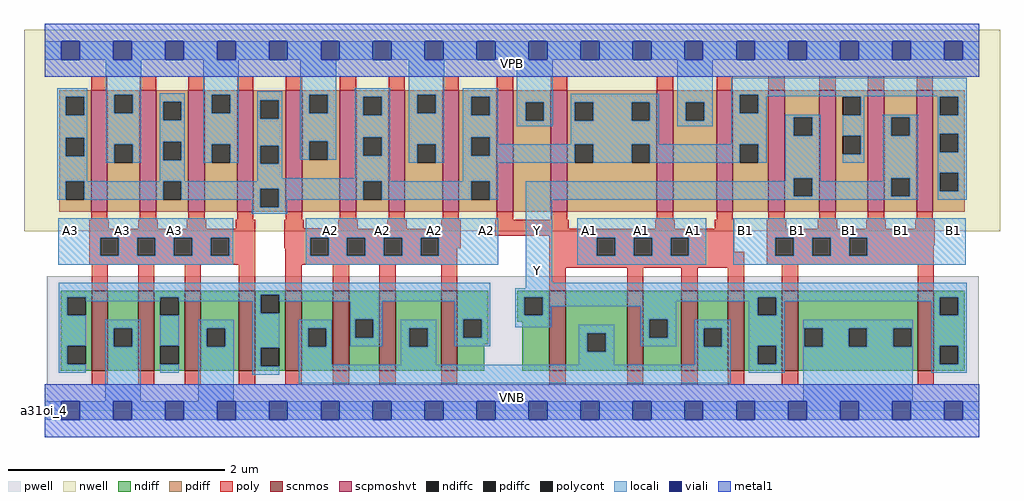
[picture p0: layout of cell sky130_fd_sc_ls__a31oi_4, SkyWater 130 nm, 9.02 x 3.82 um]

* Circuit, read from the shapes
.subckt sky130_fd_sc_ls__a31oi_4 A1 A2 A3 B1 VGND VNB VPB VPWR Y
XM1 VGND A3 n1 VNB sky130_fd_pr__nfet_01v8 w=0.74 l=0.15 m=4
XM2 n2 A2 n1 VNB sky130_fd_pr__nfet_01v8 w=0.74 l=0.15 m=4
XM3 n2 A1 Y VNB sky130_fd_pr__nfet_01v8 w=0.74 l=0.15 m=4
XM4 VGND B1 Y VNB sky130_fd_pr__nfet_01v8 w=0.74 l=0.15 m=2
XM5 VPWR A3 n3 VPB sky130_fd_pr__pfet_01v8_hvt w=1.12 l=0.15 m=4
XM6 VPWR A2 n3 VPB sky130_fd_pr__pfet_01v8_hvt w=1.12 l=0.15 m=4
XM7 VPWR A1 n3 VPB sky130_fd_pr__pfet_01v8_hvt w=1.12 l=0.15 m=4
XM8 Y B1 n3 VPB sky130_fd_pr__pfet_01v8_hvt w=1.12 l=0.15 m=4
.ends

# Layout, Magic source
magic
tech sky130A
magscale 1 2
<< nwell >>
rect -38 332 1766 704
<< pwell >>
rect 4 49 1727 248
rect 0 0 1728 49
<< scnmos >>
rect 87 74 117 222
rect 173 74 203 222
rect 259 74 289 222
rect 359 74 389 222
rect 445 74 475 222
rect 533 74 563 222
rect 619 74 649 222
rect 733 74 763 222
rect 933 74 963 222
rect 1077 74 1107 222
rect 1177 74 1207 222
rect 1263 74 1293 222
rect 1363 74 1393 222
rect 1614 74 1644 222
<< scpmoshvt >>
rect 86 368 116 592
rect 176 368 206 592
rect 266 368 296 592
rect 356 368 386 592
rect 446 368 476 592
rect 546 368 576 592
rect 636 368 666 592
rect 736 368 766 592
rect 836 368 866 592
rect 936 368 966 592
rect 1132 368 1162 592
rect 1242 368 1272 592
rect 1338 368 1368 592
rect 1432 368 1462 592
rect 1522 368 1552 592
rect 1612 368 1642 592
<< ndiff >>
rect 30 210 87 222
rect 30 176 42 210
rect 76 176 87 210
rect 30 120 87 176
rect 30 86 42 120
rect 76 86 87 120
rect 30 74 87 86
rect 117 152 173 222
rect 117 118 128 152
rect 162 118 173 152
rect 117 74 173 118
rect 203 210 259 222
rect 203 176 214 210
rect 248 176 259 210
rect 203 120 259 176
rect 203 86 214 120
rect 248 86 259 120
rect 203 74 259 86
rect 289 152 359 222
rect 289 118 300 152
rect 334 118 359 152
rect 289 74 359 118
rect 389 214 445 222
rect 389 180 400 214
rect 434 180 445 214
rect 389 116 445 180
rect 389 82 400 116
rect 434 82 445 116
rect 389 74 445 82
rect 475 152 533 222
rect 475 118 487 152
rect 521 118 533 152
rect 475 74 533 118
rect 563 169 619 222
rect 563 135 574 169
rect 608 135 619 169
rect 563 74 619 135
rect 649 152 733 222
rect 649 118 674 152
rect 708 118 733 152
rect 649 74 733 118
rect 763 169 820 222
rect 763 135 774 169
rect 808 135 820 169
rect 874 210 933 222
rect 874 176 887 210
rect 921 176 933 210
rect 874 164 933 176
rect 763 123 820 135
rect 763 74 813 123
rect 883 74 933 164
rect 963 143 1077 222
rect 963 109 1003 143
rect 1037 109 1077 143
rect 963 74 1077 109
rect 1107 169 1177 222
rect 1107 135 1118 169
rect 1152 135 1177 169
rect 1107 74 1177 135
rect 1207 152 1263 222
rect 1207 118 1218 152
rect 1252 118 1263 152
rect 1207 74 1263 118
rect 1293 210 1363 222
rect 1293 176 1318 210
rect 1352 176 1363 210
rect 1293 120 1363 176
rect 1293 86 1318 120
rect 1352 86 1363 120
rect 1293 74 1363 86
rect 1393 152 1614 222
rect 1393 118 1404 152
rect 1438 118 1486 152
rect 1520 118 1569 152
rect 1603 118 1614 152
rect 1393 74 1614 118
rect 1644 210 1701 222
rect 1644 176 1655 210
rect 1689 176 1701 210
rect 1644 120 1701 176
rect 1644 86 1655 120
rect 1689 86 1701 120
rect 1644 74 1701 86
<< pdiff >>
rect 27 580 86 592
rect 27 546 39 580
rect 73 546 86 580
rect 27 504 86 546
rect 27 470 39 504
rect 73 470 86 504
rect 27 424 86 470
rect 27 390 39 424
rect 73 390 86 424
rect 27 368 86 390
rect 116 584 176 592
rect 116 550 129 584
rect 163 550 176 584
rect 116 492 176 550
rect 116 458 129 492
rect 163 458 176 492
rect 116 368 176 458
rect 206 571 266 592
rect 206 537 219 571
rect 253 537 266 571
rect 206 497 266 537
rect 206 463 219 497
rect 253 463 266 497
rect 206 424 266 463
rect 206 390 219 424
rect 253 390 266 424
rect 206 368 266 390
rect 296 584 356 592
rect 296 550 309 584
rect 343 550 356 584
rect 296 492 356 550
rect 296 458 309 492
rect 343 458 356 492
rect 296 368 356 458
rect 386 574 446 592
rect 386 540 399 574
rect 433 540 446 574
rect 386 490 446 540
rect 386 456 399 490
rect 433 456 446 490
rect 386 410 446 456
rect 386 376 399 410
rect 433 376 446 410
rect 386 368 446 376
rect 476 584 546 592
rect 476 550 489 584
rect 523 550 546 584
rect 476 498 546 550
rect 476 464 489 498
rect 523 464 546 498
rect 476 368 546 464
rect 576 580 636 592
rect 576 546 589 580
rect 623 546 636 580
rect 576 505 636 546
rect 576 471 589 505
rect 623 471 636 505
rect 576 424 636 471
rect 576 390 589 424
rect 623 390 636 424
rect 576 368 636 390
rect 666 584 736 592
rect 666 550 689 584
rect 723 550 736 584
rect 666 492 736 550
rect 666 458 689 492
rect 723 458 736 492
rect 666 368 736 458
rect 766 580 836 592
rect 766 546 789 580
rect 823 546 836 580
rect 766 505 836 546
rect 766 471 789 505
rect 823 471 836 505
rect 766 424 836 471
rect 766 390 789 424
rect 823 390 836 424
rect 766 368 836 390
rect 866 570 936 592
rect 866 536 889 570
rect 923 536 936 570
rect 866 368 936 536
rect 966 570 1132 592
rect 966 536 980 570
rect 1014 536 1085 570
rect 1119 536 1132 570
rect 966 492 1132 536
rect 966 458 980 492
rect 1014 458 1085 492
rect 1119 458 1132 492
rect 966 368 1132 458
rect 1162 570 1242 592
rect 1162 536 1185 570
rect 1219 536 1242 570
rect 1162 368 1242 536
rect 1272 584 1338 592
rect 1272 550 1285 584
rect 1319 550 1338 584
rect 1272 492 1338 550
rect 1272 458 1285 492
rect 1319 458 1338 492
rect 1272 368 1338 458
rect 1368 542 1432 592
rect 1368 508 1385 542
rect 1419 508 1432 542
rect 1368 430 1432 508
rect 1368 396 1385 430
rect 1419 396 1432 430
rect 1368 368 1432 396
rect 1462 580 1522 592
rect 1462 546 1475 580
rect 1509 546 1522 580
rect 1462 508 1522 546
rect 1462 474 1475 508
rect 1509 474 1522 508
rect 1462 368 1522 474
rect 1552 542 1612 592
rect 1552 508 1565 542
rect 1599 508 1612 542
rect 1552 430 1612 508
rect 1552 396 1565 430
rect 1599 396 1612 430
rect 1552 368 1612 396
rect 1642 580 1701 592
rect 1642 546 1655 580
rect 1689 546 1701 580
rect 1642 512 1701 546
rect 1642 478 1655 512
rect 1689 478 1701 512
rect 1642 440 1701 478
rect 1642 406 1655 440
rect 1689 406 1701 440
rect 1642 368 1701 406
<< ndiffc >>
rect 42 176 76 210
rect 42 86 76 120
rect 128 118 162 152
rect 214 176 248 210
rect 214 86 248 120
rect 300 118 334 152
rect 400 180 434 214
rect 400 82 434 116
rect 487 118 521 152
rect 574 135 608 169
rect 674 118 708 152
rect 774 135 808 169
rect 887 176 921 210
rect 1003 109 1037 143
rect 1118 135 1152 169
rect 1218 118 1252 152
rect 1318 176 1352 210
rect 1318 86 1352 120
rect 1404 118 1438 152
rect 1486 118 1520 152
rect 1569 118 1603 152
rect 1655 176 1689 210
rect 1655 86 1689 120
<< pdiffc >>
rect 39 546 73 580
rect 39 470 73 504
rect 39 390 73 424
rect 129 550 163 584
rect 129 458 163 492
rect 219 537 253 571
rect 219 463 253 497
rect 219 390 253 424
rect 309 550 343 584
rect 309 458 343 492
rect 399 540 433 574
rect 399 456 433 490
rect 399 376 433 410
rect 489 550 523 584
rect 489 464 523 498
rect 589 546 623 580
rect 589 471 623 505
rect 589 390 623 424
rect 689 550 723 584
rect 689 458 723 492
rect 789 546 823 580
rect 789 471 823 505
rect 789 390 823 424
rect 889 536 923 570
rect 980 536 1014 570
rect 1085 536 1119 570
rect 980 458 1014 492
rect 1085 458 1119 492
rect 1185 536 1219 570
rect 1285 550 1319 584
rect 1285 458 1319 492
rect 1385 508 1419 542
rect 1385 396 1419 430
rect 1475 546 1509 580
rect 1475 474 1509 508
rect 1565 508 1599 542
rect 1565 396 1599 430
rect 1655 546 1689 580
rect 1655 478 1689 512
rect 1655 406 1689 440
<< poly >>
rect 86 592 116 618
rect 176 592 206 618
rect 266 592 296 618
rect 356 592 386 618
rect 446 592 476 618
rect 546 592 576 618
rect 636 592 666 618
rect 736 592 766 618
rect 836 592 866 618
rect 936 592 966 618
rect 1132 592 1162 618
rect 1242 592 1272 618
rect 1338 592 1368 618
rect 1432 592 1462 618
rect 1522 592 1552 618
rect 1612 592 1642 618
rect 86 353 116 368
rect 176 353 206 368
rect 266 353 296 368
rect 356 353 386 368
rect 446 353 476 368
rect 546 353 576 368
rect 636 353 666 368
rect 736 353 766 368
rect 836 353 866 368
rect 936 353 966 368
rect 1132 353 1162 368
rect 1242 353 1272 368
rect 1338 353 1368 368
rect 1432 353 1462 368
rect 1522 353 1552 368
rect 1612 353 1642 368
rect 83 336 119 353
rect 173 336 209 353
rect 263 336 299 353
rect 353 336 389 353
rect 83 320 389 336
rect 83 286 103 320
rect 137 286 171 320
rect 205 286 239 320
rect 273 286 307 320
rect 341 286 389 320
rect 443 337 479 353
rect 543 337 579 353
rect 443 336 579 337
rect 633 336 669 353
rect 733 336 769 353
rect 443 320 769 336
rect 833 336 969 353
rect 1129 336 1165 353
rect 1239 336 1275 353
rect 833 323 1275 336
rect 443 300 491 320
rect 83 270 389 286
rect 87 222 117 270
rect 173 222 203 270
rect 259 222 289 270
rect 359 222 389 270
rect 445 286 491 300
rect 525 286 559 320
rect 593 286 627 320
rect 661 286 695 320
rect 729 300 769 320
rect 933 320 1275 323
rect 729 286 763 300
rect 445 270 763 286
rect 445 222 475 270
rect 533 222 563 270
rect 619 222 649 270
rect 733 222 763 270
rect 933 286 1021 320
rect 1055 286 1089 320
rect 1123 286 1157 320
rect 1191 294 1275 320
rect 1335 336 1371 353
rect 1429 336 1465 353
rect 1519 336 1555 353
rect 1609 336 1645 353
rect 1335 320 1645 336
rect 1191 286 1293 294
rect 933 264 1293 286
rect 1335 286 1351 320
rect 1385 286 1419 320
rect 1453 286 1487 320
rect 1521 306 1645 320
rect 1521 286 1644 306
rect 1335 270 1644 286
rect 933 222 963 264
rect 1077 222 1107 264
rect 1177 222 1207 264
rect 1263 222 1293 264
rect 1363 222 1393 270
rect 1614 222 1644 270
rect 87 48 117 74
rect 173 48 203 74
rect 259 48 289 74
rect 359 48 389 74
rect 445 48 475 74
rect 533 48 563 74
rect 619 48 649 74
rect 733 48 763 74
rect 933 48 963 74
rect 1077 48 1107 74
rect 1177 48 1207 74
rect 1263 48 1293 74
rect 1363 48 1393 74
rect 1614 48 1644 74
<< polycont >>
rect 103 286 137 320
rect 171 286 205 320
rect 239 286 273 320
rect 307 286 341 320
rect 491 286 525 320
rect 559 286 593 320
rect 627 286 661 320
rect 695 286 729 320
rect 1021 286 1055 320
rect 1089 286 1123 320
rect 1157 286 1191 320
rect 1351 286 1385 320
rect 1419 286 1453 320
rect 1487 286 1521 320
<< locali >>
rect 0 649 31 683
rect 65 649 127 683
rect 161 649 223 683
rect 257 649 319 683
rect 353 649 415 683
rect 449 649 511 683
rect 545 649 607 683
rect 641 649 703 683
rect 737 649 799 683
rect 833 649 895 683
rect 929 649 991 683
rect 1025 649 1087 683
rect 1121 649 1183 683
rect 1217 649 1279 683
rect 1313 649 1375 683
rect 1409 649 1471 683
rect 1505 649 1567 683
rect 1601 649 1663 683
rect 1697 649 1728 683
rect 23 580 79 596
rect 23 546 39 580
rect 73 546 79 580
rect 23 504 79 546
rect 23 470 39 504
rect 73 470 79 504
rect 23 424 79 470
rect 113 584 179 649
rect 113 550 129 584
rect 163 550 179 584
rect 113 492 179 550
rect 113 458 129 492
rect 163 458 179 492
rect 213 571 259 587
rect 213 537 219 571
rect 253 537 259 571
rect 213 497 259 537
rect 213 463 219 497
rect 253 463 259 497
rect 213 424 259 463
rect 293 584 359 649
rect 293 550 309 584
rect 343 550 359 584
rect 293 492 359 550
rect 293 458 309 492
rect 343 458 359 492
rect 393 574 439 590
rect 393 540 399 574
rect 433 540 439 574
rect 393 490 439 540
rect 393 456 399 490
rect 433 456 439 490
rect 473 584 539 649
rect 473 550 489 584
rect 523 550 539 584
rect 473 498 539 550
rect 473 464 489 498
rect 523 464 539 498
rect 573 580 639 596
rect 573 546 589 580
rect 623 546 639 580
rect 573 505 639 546
rect 573 471 589 505
rect 623 471 639 505
rect 393 430 439 456
rect 573 430 639 471
rect 673 584 739 649
rect 673 550 689 584
rect 723 550 739 584
rect 673 492 739 550
rect 673 458 689 492
rect 723 458 739 492
rect 773 580 839 596
rect 773 546 789 580
rect 823 546 839 580
rect 773 505 839 546
rect 873 570 939 649
rect 873 536 889 570
rect 923 536 939 570
rect 873 526 939 536
rect 973 570 1135 586
rect 973 536 980 570
rect 1014 536 1085 570
rect 1119 536 1135 570
rect 773 471 789 505
rect 823 492 839 505
rect 973 492 1135 536
rect 1169 570 1235 649
rect 1169 536 1185 570
rect 1219 536 1235 570
rect 1169 526 1235 536
rect 1269 584 1705 615
rect 1269 550 1285 584
rect 1319 581 1705 584
rect 1319 550 1335 581
rect 1269 492 1335 550
rect 1475 580 1515 581
rect 823 471 980 492
rect 773 458 980 471
rect 1014 458 1085 492
rect 1119 458 1285 492
rect 1319 458 1335 492
rect 1369 542 1435 547
rect 1369 508 1385 542
rect 1419 508 1435 542
rect 393 424 639 430
rect 773 424 839 458
rect 1369 430 1435 508
rect 1509 546 1515 580
rect 1651 580 1705 581
rect 1475 508 1515 546
rect 1509 474 1515 508
rect 1475 458 1515 474
rect 1549 542 1615 547
rect 1549 508 1565 542
rect 1599 508 1615 542
rect 1369 424 1385 430
rect 23 390 39 424
rect 73 390 219 424
rect 253 410 589 424
rect 253 390 399 410
rect 383 376 399 390
rect 433 390 589 410
rect 623 390 789 424
rect 823 390 839 424
rect 889 396 1385 424
rect 1419 424 1435 430
rect 1549 430 1615 508
rect 1549 424 1565 430
rect 1419 396 1565 424
rect 1599 396 1615 430
rect 889 390 1615 396
rect 1651 546 1655 580
rect 1689 546 1705 580
rect 1651 512 1705 546
rect 1651 478 1655 512
rect 1689 478 1705 512
rect 1651 440 1705 478
rect 1651 406 1655 440
rect 1689 406 1705 440
rect 1651 390 1705 406
rect 433 376 449 390
rect 383 364 449 376
rect 25 320 349 356
rect 25 286 103 320
rect 137 286 171 320
rect 205 286 239 320
rect 273 286 307 320
rect 341 286 349 320
rect 25 270 349 286
rect 483 320 839 356
rect 483 286 491 320
rect 525 286 559 320
rect 593 286 627 320
rect 661 286 695 320
rect 729 286 839 320
rect 483 270 839 286
rect 889 236 938 390
rect 985 320 1223 356
rect 985 286 1021 320
rect 1055 286 1089 320
rect 1123 286 1157 320
rect 1191 286 1223 320
rect 985 270 1223 286
rect 1273 320 1703 356
rect 1273 286 1351 320
rect 1385 286 1419 320
rect 1453 286 1487 320
rect 1521 286 1703 320
rect 1273 270 1703 286
rect 26 214 824 236
rect 889 226 1705 236
rect 26 210 400 214
rect 26 176 42 210
rect 76 202 214 210
rect 26 120 76 176
rect 248 202 400 210
rect 26 86 42 120
rect 26 70 76 86
rect 112 152 178 168
rect 112 118 128 152
rect 162 118 178 152
rect 112 17 178 118
rect 214 120 248 176
rect 384 180 400 202
rect 434 202 824 214
rect 214 70 248 86
rect 284 152 350 168
rect 284 118 300 152
rect 334 118 350 152
rect 284 17 350 118
rect 384 116 434 180
rect 565 169 624 202
rect 384 82 400 116
rect 384 66 434 82
rect 470 152 531 168
rect 470 118 487 152
rect 521 118 531 152
rect 565 135 574 169
rect 608 135 624 169
rect 758 169 824 202
rect 565 119 624 135
rect 658 152 724 168
rect 470 85 531 118
rect 658 118 674 152
rect 708 118 724 152
rect 758 135 774 169
rect 808 135 824 169
rect 870 210 1705 226
rect 870 176 887 210
rect 921 202 1318 210
rect 921 193 1168 202
rect 921 176 937 193
rect 870 154 937 176
rect 1102 169 1168 193
rect 758 119 824 135
rect 987 143 1053 159
rect 658 85 724 118
rect 987 109 1003 143
rect 1037 109 1053 143
rect 1102 135 1118 169
rect 1152 135 1168 169
rect 1302 176 1318 202
rect 1352 202 1655 210
rect 1352 176 1368 202
rect 1102 119 1168 135
rect 1202 152 1268 168
rect 987 85 1053 109
rect 1202 118 1218 152
rect 1252 118 1268 152
rect 1202 85 1268 118
rect 470 51 1268 85
rect 1302 120 1368 176
rect 1639 176 1655 202
rect 1689 176 1705 210
rect 1302 86 1318 120
rect 1352 86 1368 120
rect 1302 70 1368 86
rect 1402 152 1605 168
rect 1402 118 1404 152
rect 1438 118 1486 152
rect 1520 118 1569 152
rect 1603 118 1605 152
rect 1402 17 1605 118
rect 1639 120 1705 176
rect 1639 86 1655 120
rect 1689 86 1705 120
rect 1639 70 1705 86
rect 0 -17 31 17
rect 65 -17 127 17
rect 161 -17 223 17
rect 257 -17 319 17
rect 353 -17 415 17
rect 449 -17 511 17
rect 545 -17 607 17
rect 641 -17 703 17
rect 737 -17 799 17
rect 833 -17 895 17
rect 929 -17 991 17
rect 1025 -17 1087 17
rect 1121 -17 1183 17
rect 1217 -17 1279 17
rect 1313 -17 1375 17
rect 1409 -17 1471 17
rect 1505 -17 1567 17
rect 1601 -17 1663 17
rect 1697 -17 1728 17
<< viali >>
rect 31 649 65 683
rect 127 649 161 683
rect 223 649 257 683
rect 319 649 353 683
rect 415 649 449 683
rect 511 649 545 683
rect 607 649 641 683
rect 703 649 737 683
rect 799 649 833 683
rect 895 649 929 683
rect 991 649 1025 683
rect 1087 649 1121 683
rect 1183 649 1217 683
rect 1279 649 1313 683
rect 1375 649 1409 683
rect 1471 649 1505 683
rect 1567 649 1601 683
rect 1663 649 1697 683
rect 31 -17 65 17
rect 127 -17 161 17
rect 223 -17 257 17
rect 319 -17 353 17
rect 415 -17 449 17
rect 511 -17 545 17
rect 607 -17 641 17
rect 703 -17 737 17
rect 799 -17 833 17
rect 895 -17 929 17
rect 991 -17 1025 17
rect 1087 -17 1121 17
rect 1183 -17 1217 17
rect 1279 -17 1313 17
rect 1375 -17 1409 17
rect 1471 -17 1505 17
rect 1567 -17 1601 17
rect 1663 -17 1697 17
<< metal1 >>
rect 0 683 1728 715
rect 0 649 31 683
rect 65 649 127 683
rect 161 649 223 683
rect 257 649 319 683
rect 353 649 415 683
rect 449 649 511 683
rect 545 649 607 683
rect 641 649 703 683
rect 737 649 799 683
rect 833 649 895 683
rect 929 649 991 683
rect 1025 649 1087 683
rect 1121 649 1183 683
rect 1217 649 1279 683
rect 1313 649 1375 683
rect 1409 649 1471 683
rect 1505 649 1567 683
rect 1601 649 1663 683
rect 1697 649 1728 683
rect 0 617 1728 649
rect 0 17 1728 49
rect 0 -17 31 17
rect 65 -17 127 17
rect 161 -17 223 17
rect 257 -17 319 17
rect 353 -17 415 17
rect 449 -17 511 17
rect 545 -17 607 17
rect 641 -17 703 17
rect 737 -17 799 17
rect 833 -17 895 17
rect 929 -17 991 17
rect 1025 -17 1087 17
rect 1121 -17 1183 17
rect 1217 -17 1279 17
rect 1313 -17 1375 17
rect 1409 -17 1471 17
rect 1505 -17 1567 17
rect 1601 -17 1663 17
rect 1697 -17 1728 17
rect 0 -49 1728 -17
<< labels >>
rlabel comment s 0 0 0 0 4 a31oi_4
flabel pwell s 0 0 1728 49 0 FreeSans 200 0 0 0 VNB
port 6 nsew ground bidirectional
flabel nwell s 0 617 1728 666 0 FreeSans 200 0 0 0 VPB
port 7 nsew power bidirectional
flabel metal1 s 0 617 1728 666 0 FreeSans 340 0 0 0 VPWR
port 8 nsew power bidirectional abutment
flabel metal1 s 0 0 1728 49 0 FreeSans 340 0 0 0 VGND
port 5 nsew ground bidirectional abutment
flabel locali s 1279 316 1313 350 0 FreeSans 340 0 0 0 B1
port 4 nsew signal input
flabel locali s 1375 316 1409 350 0 FreeSans 340 0 0 0 B1
port 4 nsew signal input
flabel locali s 1471 316 1505 350 0 FreeSans 340 0 0 0 B1
port 4 nsew signal input
flabel locali s 1567 316 1601 350 0 FreeSans 340 0 0 0 B1
port 4 nsew signal input
flabel locali s 1663 316 1697 350 0 FreeSans 340 0 0 0 B1
port 4 nsew signal input
flabel locali s 31 316 65 350 0 FreeSans 340 0 0 0 A3
port 3 nsew signal input
flabel locali s 127 316 161 350 0 FreeSans 340 0 0 0 A3
port 3 nsew signal input
flabel locali s 223 316 257 350 0 FreeSans 340 0 0 0 A3
port 3 nsew signal input
flabel locali s 511 316 545 350 0 FreeSans 340 0 0 0 A2
port 2 nsew signal input
flabel locali s 607 316 641 350 0 FreeSans 340 0 0 0 A2
port 2 nsew signal input
flabel locali s 703 316 737 350 0 FreeSans 340 0 0 0 A2
port 2 nsew signal input
flabel locali s 799 316 833 350 0 FreeSans 340 0 0 0 A2
port 2 nsew signal input
flabel locali s 991 316 1025 350 0 FreeSans 340 0 0 0 A1
port 1 nsew signal input
flabel locali s 1087 316 1121 350 0 FreeSans 340 0 0 0 A1
port 1 nsew signal input
flabel locali s 1183 316 1217 350 0 FreeSans 340 0 0 0 A1
port 1 nsew signal input
flabel locali s 895 242 929 276 0 FreeSans 340 0 0 0 Y
port 9 nsew signal output
flabel locali s 895 316 929 350 0 FreeSans 340 0 0 0 Y
port 9 nsew signal output
<< properties >>
string LEFsite unit
string LEFclass CORE
string FIXED_BBOX 0 0 1728 666
string GDS_FILE $PDKPATH/libs.ref/sky130_fd_sc_ls/gds/sky130_fd_sc_ls.gds
string LEFsymmetry X Y
string GDS_END 1782000
string GDS_START 1767940
<< end >>
